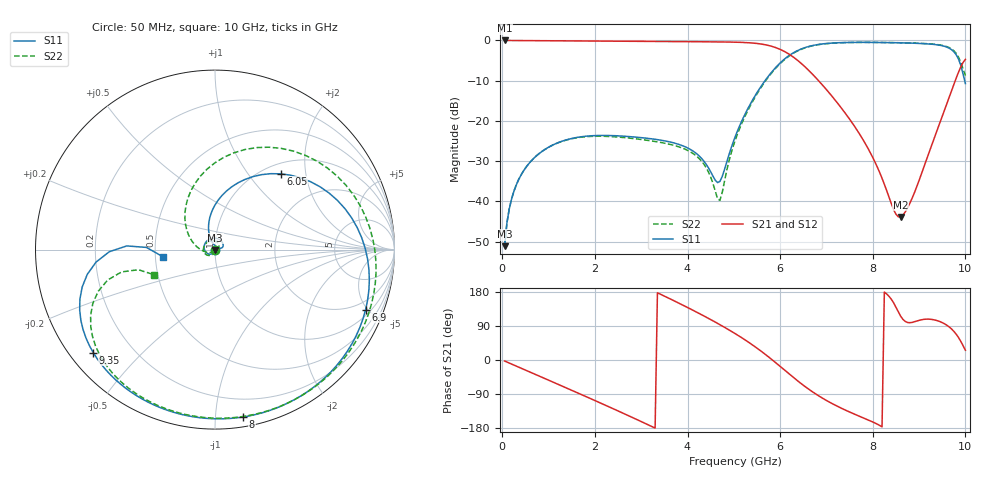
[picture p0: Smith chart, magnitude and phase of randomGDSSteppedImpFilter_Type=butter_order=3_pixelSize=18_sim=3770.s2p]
! freq	dB(S11)	phase(S11)	dB(S12)	phase(S12)
!  dB(S21)	phase(S21)	dB(S22)	phase(S22)
!S-par simulation data
#  GHz  S  DB  R 50
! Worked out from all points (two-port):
!   200 points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, 50 MHz to 10 GHz, reference 50 ohm
!   highest |S21| = 0.00 dB at 50 MHz (marker M1); lowest = -43.9 dB at 8.6 GHz (marker M2)
!   |S21| within 3 dB of the highest: start of sweep to 6.133 GHz
!   lowest |S11| = -51.1 dB at 50 MHz (marker M3), VSWR 1.01, Z = 50 - j0.276 ohm
!   |S11| at or under -10 dB: start of sweep to 5.673 GHz; 9.984801 GHz to end of sweep
!   |S22| runs from -51.1 to -0.5 dB; largest |S21 - S12| = 0
!   S11 on the Smith chart (normalised r, x): 50 MHz: 1.00, -0.01; 6.05 GHz: 1.18, +1.45; 6.9 GHz: 1.34, -4.86; 8 GHz: 0.07, -1.18; 9.35 GHz: 0.07, -0.36; 10 GHz: 0.55, -0.05
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0.05  -51.12 -83.7  -0.00 -2.7  -0.00 -2.7  -51.14 -82.7
0.2  -39.43 -100.2  -0.02 -10.7  -0.02 -10.7  -39.40 -96.9
0.5  -31.73 -120.7  -0.04 -26.7  -0.04 -26.7  -31.70 -112.5
1.15  -25.67 -162.8  -0.08 -61.2  -0.08 -61.2  -25.69 -142.7
1.75  -23.87 157.6  -0.13 -93.4  -0.13 -93.4  -23.98 -168.4
2.7  -23.86 91.7  -0.19 -145.5  -0.19 -145.5  -24.22 152.2
3.4  -24.74 47.3  -0.25 174.5  -0.25 174.5  -25.31 116.8
4.25  -28.70 13.9  -0.32 122.9  -0.32 122.9  -29.34 51.2
4.7  -35.03 70.5  -0.37 93.2  -0.37 93.2  -39.74 -70.3
5.05  -23.31 112.3  -0.44 68.0  -0.44 68.0  -24.15 -171.1
5.6  -11.20 86.4  -0.91 22.3  -0.91 22.3  -11.46 128.6
6.05  -5.07 49.2  -2.49 -22.0  -2.49 -22.0  -5.20 79.0
6.35  -2.67 21.9  -4.70 -52.4  -4.70 -52.4  -2.76 46.2
6.7  -1.27 -7.2  -8.41 -84.1  -8.41 -84.1  -1.32 12.3
6.9  -0.88 -21.7  -10.90 -99.7  -10.90 -99.7  -0.93 -4.2
7.45  -0.51 -54.4  -18.77 -134.6  -18.77 -134.6  -0.52 -41.0
8  -0.49 -80.4  -29.09 -163.6  -29.09 -163.6  -0.49 -69.5
8.35  -0.53 -95.3  -38.93 168.1  -38.93 168.1  -0.53 -85.3
8.6  -0.59 -105.7  -43.88 116.1  -43.88 116.1  -0.58 -96.0
9.35  -1.03 -139.8  -23.57 105.3  -23.57 105.3  -0.97 -129.6
9.75  -2.79 -169.0  -10.96 75.8  -10.96 75.8  -2.56 -156.1
10  -10.72 -171.9  -4.71 25.9  -4.71 25.9  -8.72 -157.4
